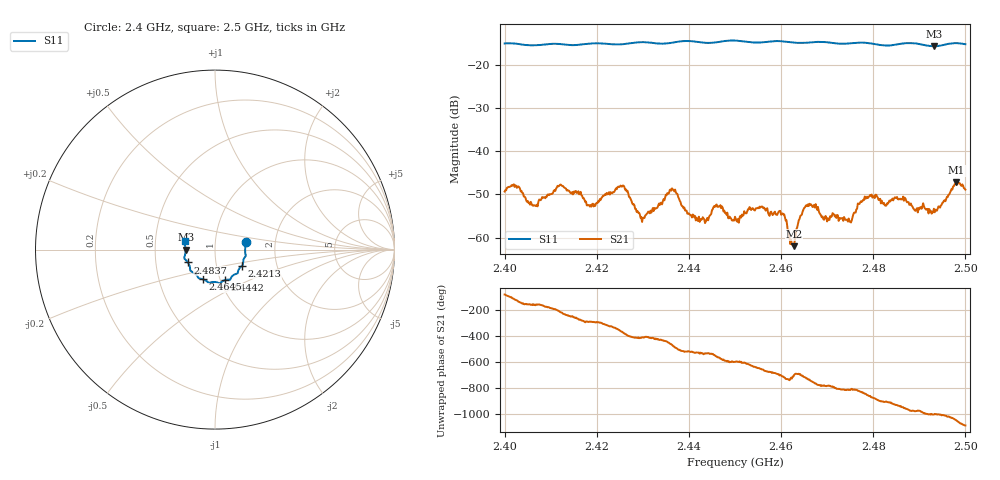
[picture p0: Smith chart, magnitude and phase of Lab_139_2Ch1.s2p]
# Hz S RI R 50
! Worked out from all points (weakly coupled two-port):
!   601 points, 2.4 GHz to 2.5 GHz, reference 50 ohm
!   highest |S21| = -47.23 dB at 2.498 GHz (marker M1); lowest = -62.0 dB at 2.4628 GHz (marker M2)
!   lowest |S11| = -15.7 dB at 2.4932 GHz (marker M3), VSWR 1.39, Z = 35.9 - j0.039 ohm
!   |S11| at or under -10 dB: start of sweep to end of sweep
!   S12 and S22 are empty: the file has one direction only
!   S11 on the Smith chart (normalised r, x): 2.4 GHz: 1.41, +0.12; 2.4213 GHz: 1.33, -0.25; 2.4442 GHz: 1.05, -0.37; 2.4645 GHz: 0.83, -0.29; 2.4837 GHz: 0.73, -0.11; 2.5 GHz: 0.71, +0.07
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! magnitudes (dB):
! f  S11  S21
! 2.4 GHz  -15.1  -49.3
! 2.4067 GHz  -15.5  -52.6
! 2.412 GHz  -15.2  -47.8
! 2.4167 GHz  -15.3  -50.2
! 2.4213 GHz  -15.1  -50.3
! 2.4255 GHz  -15.3  -48.2
! 2.43 GHz  -14.8  -55.4
! 2.4333 GHz  -15.1  -52.6
! 2.4365 GHz  -14.9  -48.8
! 2.4442 GHz  -15.0  -56.0
! 2.45 GHz  -14.4  -55.2
! 2.46 GHz  -14.6  -54.7
! 2.4628 GHz  -14.9  -62.0
! 2.4645 GHz  -15.0  -54.7
! 2.4667 GHz  -14.8  -52.6
! 2.4748 GHz  -15.1  -56.3
! 2.4792 GHz  -15.0  -50.4
! 2.4833 GHz  -15.6  -51.9
! 2.4837 GHz  -15.5  -51.6
! 2.4932 GHz  -15.7  -53.3
! 2.498 GHz  -15.0  -47.2
! 2.5 GHz  -15.3  -48.9
